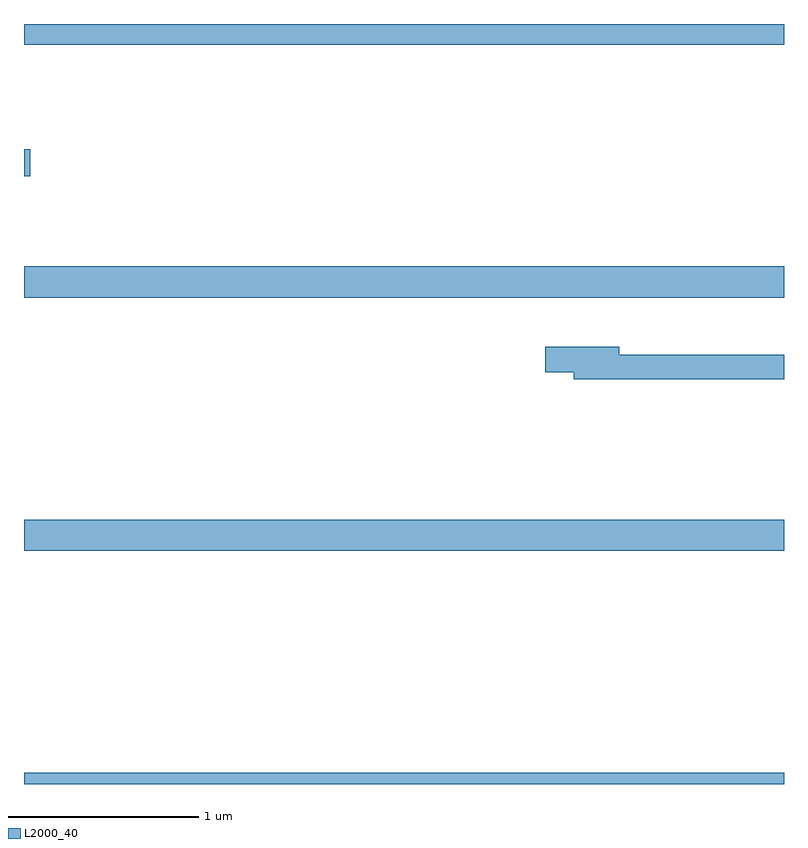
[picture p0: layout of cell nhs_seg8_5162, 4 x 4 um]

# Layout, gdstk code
import gdstk
lib = gdstk.Library(unit=1e-6, precision=1e-09)
def R(c, l, rs):  # rectangles x0, y0, x1, y1
    for r in rs: c.add(gdstk.rectangle(r[:2], r[2:], *l))
def P(c, l, *ps):  # polygons
    for p in ps: c.add(gdstk.Polygon(p, *l))
L2000_40 = (2000, 40)

nhs_seg8_5162 = lib.new_cell('nhs_seg8_5162')
R(nhs_seg8_5162, L2000_40, [(421,1153.9,425,1153.96), (421,1155.128,425,1155.292), (421,1156.46,425,1156.624), (421,1157.098,421.033,1157.24), (421,1157.792,425,1157.9)])
P(nhs_seg8_5162, L2000_40, [(425,1156.159),(424.132,1156.159),(424.132,1156.201),(423.744,1156.201),(423.744,1156.067),(423.893,1156.067),(423.893,1156.03),(425,1156.03)])

lib.write_gds('nhs_seg8_5162.gds')
